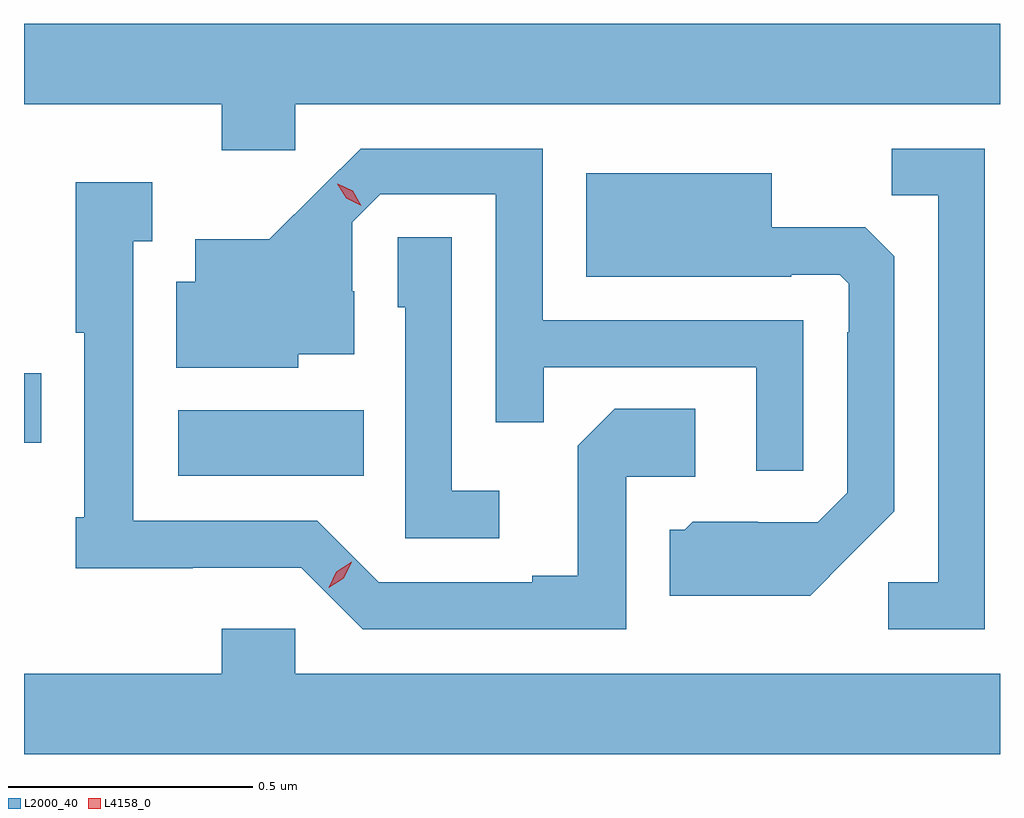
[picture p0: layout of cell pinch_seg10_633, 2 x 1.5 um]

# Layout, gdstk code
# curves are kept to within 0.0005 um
import gdstk
lib = gdstk.Library(unit=1e-6, precision=1e-09)
def R(c, l, rs):  # rectangles x0, y0, x1, y1
    for r in rs: c.add(gdstk.rectangle(r[:2], r[2:], *l))
def P(c, l, *ps):  # polygons
    for p in ps: c.add(gdstk.Polygon(p, *l))
L2000_40 = (2000, 40)
L4158_0 = (4158, 0)

pinch_seg10_633 = lib.new_cell('pinch_seg10_633')
R(pinch_seg10_633, L2000_40, [(374.028,1251.602,374.408,1251.736), (373.712,1251.67,373.747,1251.812)])
P(pinch_seg10_633, L2000_40, [(374.268,1252.364),(375.712,1252.364),(375.712,1252.528),(373.712,1252.528),(373.712,1252.364),(374.117,1252.364),(374.117,1252.269),(374.268,1252.269)],
  [(375.681,1252.272),(375.49,1252.272),(375.49,1252.177),(375.585,1252.177),(375.585,1251.384),(375.483,1251.384),(375.483,1251.288),(375.681,1251.288)],
  [(375.309,1251.921),(374.775,1251.921),(374.775,1252.272),(374.402,1252.272),(374.215,1252.087),(374.063,1252.087),(374.063,1252),(374.024,1252),(374.024,1251.824),(374.274,1251.824),(374.274,1251.851),(374.389,1251.851),(374.389,1251.98),(374.385,1251.98),(374.385,1252.122),(374.442,1252.179),(374.679,1252.179),(374.679,1251.712),(374.777,1251.712),(374.777,1251.825),(375.213,1251.825),(375.213,1251.612),(375.309,1251.612)],
  [(375.403,1251.437),(375.495,1251.53),(375.495,1252.052),(375.436,1252.111),(375.244,1252.111),(375.244,1252.222),(374.864,1252.222),(374.864,1252.01),(375.284,1252.01),(375.284,1252.014),(375.384,1252.014),(375.402,1251.996),(375.402,1251.896),(375.399,1251.896),(375.399,1251.567),(375.339,1251.507),(375.216,1251.507),(375.216,1251.508),(375.082,1251.508),(375.066,1251.492),(375.035,1251.492),(375.035,1251.356),(375.323,1251.356)],
  [(374.946,1251.6),(375.088,1251.6),(375.088,1251.74),(374.923,1251.74),(374.847,1251.664),(374.847,1251.397),(374.753,1251.397),(374.753,1251.384),(374.439,1251.384),(374.313,1251.51),(373.936,1251.51),(373.936,1252.083),(373.975,1252.083),(373.975,1252.204),(373.818,1252.204),(373.818,1251.895),(373.835,1251.895),(373.835,1251.517),(373.818,1251.517),(373.818,1251.413),(374.058,1251.413),(374.058,1251.414),(374.28,1251.414),(374.406,1251.288),(374.946,1251.288)],
  [(374.686,1251.571),(374.589,1251.571),(374.589,1252.091),(374.478,1252.091),(374.478,1251.948),(374.493,1251.948),(374.493,1251.474),(374.686,1251.474)],
  [(375.712,1251.196),(374.268,1251.196),(374.268,1251.289),(374.117,1251.289),(374.117,1251.196),(373.712,1251.196),(373.712,1251.032),(375.712,1251.032)])
P(pinch_seg10_633, L4158_0, [(374.403,1252.156),(374.372,1252.171),(374.354,1252.201),(374.354,1252.201),(374.355,1252.201),(374.386,1252.186),(374.403,1252.156),(374.403,1252.156)],
  [(374.336,1251.373),(374.336,1251.373),(374.352,1251.406),(374.384,1251.426),(374.384,1251.426),(374.384,1251.425),(374.367,1251.392),(374.336,1251.373)])

lib.write_gds('pinch_seg10_633.gds')
